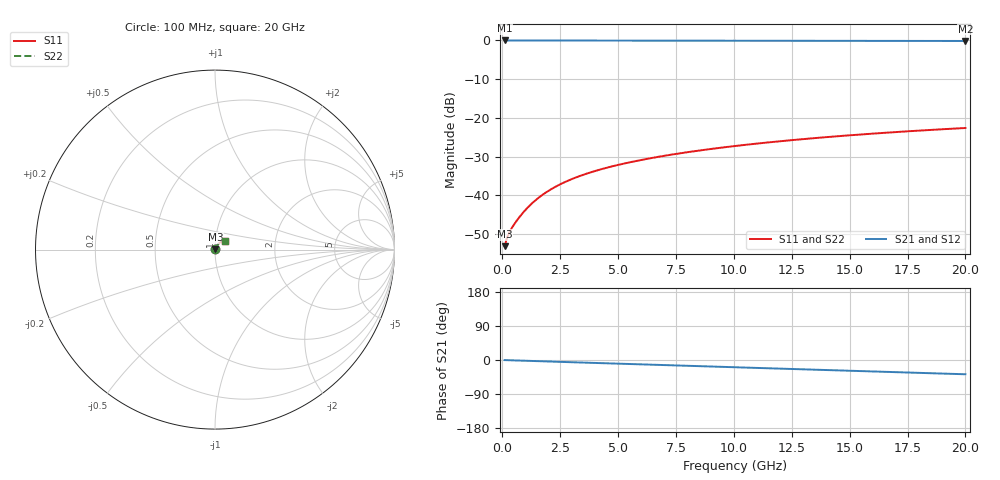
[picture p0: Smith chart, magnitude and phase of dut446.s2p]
! Touchstone file exported from HFSS 2026.1.0
!  File:  C:/ffzhzh/LocalFiles/Ansys_Project_Files/temp_train_TMRDL_446_1783005735_4048.aedt
!  Generated:  11:23:31 PM Jul  2, 2026
!  Design:  TMRDL
!  Project:  temp_train_TMRDL_446_1783005735_4048
! Variables:
!  h_bsmrdl = 2um
!  h_ox = 20um
!  h_rdl = 5um
!  h_sub = 80um
!  h_tmrdl = 5.4um
!  h_tsv = 80um
!  h_via = 3um
!  l_bsmrdl = 300um
!  l_sub = 1065.08um
!  l_tmrdl = 665.08um
!  m_sub = 200um
!  pitch = 33.48um
!  r_tsv = 6um
!  s_tmrdl = 10um
!  w_bsmrdl = 18um
!  w_sub = 500um
!  w_tmrdl = 25.7um
!  x_tsv_center1 = 677.93um
!  x_tsv_center2 = 995.93um
!  x_tsv_center3 = 1686.71um
!  x_tsv_center4 = 2004.71um
!  x_tsv_center5 = 2695.49um
!  x_tsv_center6 = 3013.49um
# GHz S MA R 50.000000
! Terminal data exported
! Port[1] = TM_RDL1_1_T1
! Port[2] = TM_RDL1_1_T2
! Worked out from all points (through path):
!   200 points, 100 MHz to 20 GHz, reference 50 ohm
!   highest |S21| = -0.02 dB at 100 MHz (marker M1); lowest = -0.2 dB at 20 GHz (marker M2)
!   group delay of S21, straight-line fit = 5.21 ps
!   lowest |S11| = -53.1 dB at 100 MHz (marker M3), VSWR 1.00, Z = 50.2 + j0.0958 ohm
!   |S11| at or under -10 dB: start of sweep to end of sweep
!   |S22| runs from -53.1 to -22.6 dB; largest |S21 - S12| = 2.6e-15
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0.1  0.002216 25.5  0.998 -0.2  0.998 -0.2  0.002216 25.5
! Gamma 0 0 0 0
! Port Impedance 50 0 50 0
0.2  0.002825 34.8  0.9977 -0.4  0.9977 -0.4  0.002825 34.8
0.3  0.003316 39.8  0.9975 -0.6  0.9975 -0.6  0.003316 39.8
0.5  0.00418 47.8  0.9972 -1.0  0.9972 -1.0  0.00418 47.8
0.7  0.005073 53.7  0.9971 -1.4  0.9971 -1.4  0.005073 53.8
0.9  0.006019 58.0  0.997 -1.8  0.997 -1.8  0.006018 58.0
1.1  0.006999 60.9  0.9968 -2.2  0.9968 -2.2  0.006998 60.9
1.3  0.007997 62.9  0.9967 -2.6  0.9967 -2.6  0.007996 62.9
1.5  0.009001 64.2  0.9965 -3.0  0.9965 -3.0  0.009 64.3
1.8  0.0105 65.5  0.9962 -3.6  0.9962 -3.6  0.0105 65.5
2.3  0.01295 66.3  0.9957 -4.5  0.9957 -4.5  0.01295 66.3
2.9  0.01578 66.3  0.995 -5.7  0.995 -5.7  0.01578 66.3
3.5  0.01848 65.8  0.9943 -6.8  0.9943 -6.8  0.01848 65.9
4.2  0.02149 65.0  0.9936 -8.2  0.9936 -8.2  0.02148 65.1
4.9  0.02436 64.2  0.9929 -9.5  0.9929 -9.5  0.02435 64.2
5.8  0.02791 63.0  0.992 -11.2  0.992 -11.2  0.0279 63.1
6.8  0.03172 61.7  0.9912 -13.1  0.9912 -13.1  0.03171 61.8
8.3  0.03722 59.7  0.99 -15.9  0.99 -15.9  0.03721 59.8
10.1  0.04358 57.1  0.9887 -19.2  0.9887 -19.2  0.04356 57.2
13.4  0.05461 52.1  0.9866 -25.4  0.9866 -25.4  0.05458 52.3
16.7  0.06482 46.9  0.9846 -31.5  0.9846 -31.5  0.06477 47.2
20  0.07411 41.5  0.9827 -37.7  0.9827 -37.7  0.07405 41.8
